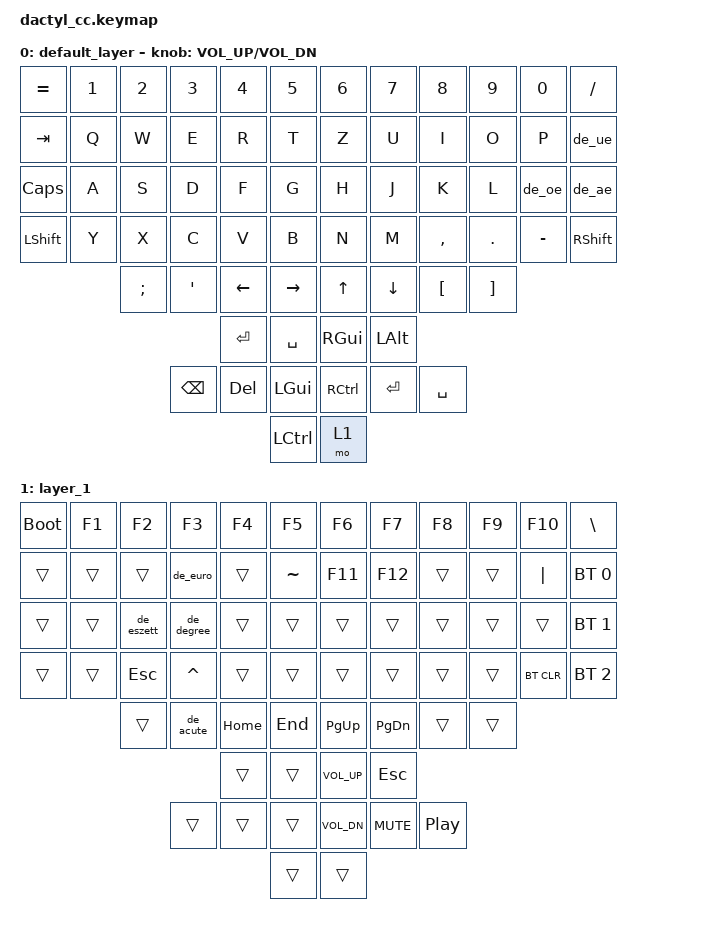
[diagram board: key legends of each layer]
/*
 * Copyright (c) 2020 The ZMK Contributors
 *
 * SPDX-License-Identifier: MIT
 */

#include <behaviors.dtsi>

#define HOST_OS 1

#include "../zmk-nodefree-config/helper.h"
#include "../zmk-nodefree-config/international_chars/german.dtsi"
#include <dt-bindings/zmk/bt.h>
#include <dt-bindings/zmk/keys.h>

ZMK_UNICODE_PAIR(de_euro,   N2, N0, A, C,  N2, N0, A, C)
ZMK_UNICODE_PAIR(de_degree, N0, N0, B, N0,  N0, N0, B, N0)
UC_MACRO(de_acute_lower, &kp N0 &kp N0 &kp B &kp N4)
UC_MODMORPH(de_acute, &de_acute_lower, &kp GRAVE)
/ {
    keymap {
        compatible = "zmk,keymap";

        default_layer {
            // ------------------------------------------------------------------------------------------------------------
            // |  ESC   |  1  |  2  |  3   |  4   |  5   |                    |  6   |  7    |  8    |  9   |   0   |   `   |
            // |  TAB   |  Q  |  W  |  E   |  R   |  T   |                    |  Y   |  U    |  I    |  O   |   P   |   -   |
            // |  CTRL  |  A  |  S  |  D   |  F   |  G   |                    |  H   |  J    |  K    |  L   |   ;   |   '   |
            // | SHIFT  |  Z  |  X  |  C   |  V   |  B   |                    |  N   |  M    |  ,    |  .   |   /   | SHIFT |
            // |    2   |  2  | f   | 6    | 4    | 1    |                    | 2    | 1     | w     | s    | n     |  a    |

            bindings = <
&kp EQUAL       &kp N1          &kp N2          &kp N3              &kp N4          &kp N5          &kp N6          &kp N7          &kp N8      &kp N9      &kp N0      &kp SLASH
&kp TAB         &kp Q           &kp W           &kp E               &kp R           &kp T           &kp Z           &kp U           &kp I       &kp O       &kp P       &de_ue
&kp CAPSLOCK    &kp A           &kp S           &kp D               &kp F           &kp G           &kp H           &kp J           &kp K       &kp L       &de_oe      &de_ae
&kp LSHFT       &kp Y           &kp X           &kp C               &kp V           &kp B           &kp N           &kp M           &kp COMMA   &kp DOT     &kp MINUS   &kp RSHIFT
                                &kp SEMICOLON   &kp APOSTROPHE      &kp LEFT        &kp RIGHT       &kp UP          &kp DOWN        &kp LBKT    &kp RBKT
                                                                    &kp ENTER       &kp SPACE       &kp RIGHT_GUI   &kp LEFT_ALT
                                                &kp BSPC            &kp DEL         &kp LEFT_GUI    &kp RCTRL       &kp ENTER       &kp SPACE
                                                                                    &kp LCTRL       &mo 1
            >;
            sensor-bindings = <&inc_dec_kp C_VOL_UP C_VOL_DN>;
        };

        layer_1 {
            bindings = <
&bootloader     &kp F1          &kp F2          &kp F3              &kp F4          &kp F5          &kp F6          &kp F7          &kp F8      &kp F9      &kp F10     &kp BACKSLASH
&trans          &trans          &trans          &de_euro            &trans          &kp TILDE       &kp F11         &kp F12         &trans      &trans      &kp PIPE    &bt BT_SEL 0
&trans          &trans          &de_eszett      &de_degree          &trans          &trans          &trans          &trans          &trans      &trans      &trans      &bt BT_SEL 1
&trans          &trans          &kp ESC         &kp CARET           &trans          &trans          &trans          &trans          &trans      &trans      &bt BT_CLR  &bt BT_SEL 2
                                &trans          &de_acute           &kp HOME        &kp END         &kp PAGE_UP     &kp PAGE_DOWN   &trans      &trans
                                                                    &trans          &trans          &kp C_VOL_UP    &kp ESC
                                                &trans              &trans          &trans          &kp C_VOL_DN    &kp C_MUTE      &kp C_PLAY_PAUSE
                                                                                    &trans          &trans
            >;
        };
    };
};
